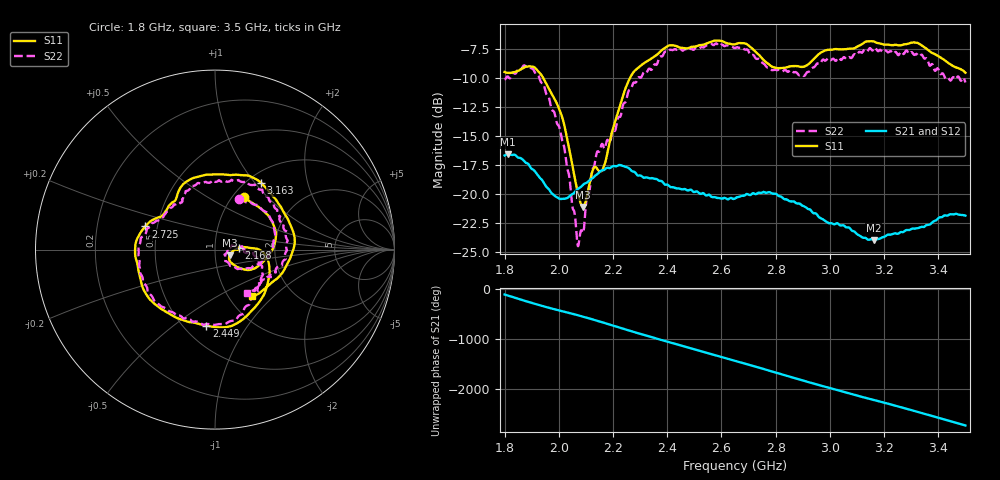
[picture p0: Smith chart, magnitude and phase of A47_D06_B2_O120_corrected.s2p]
! Created with skrf 1.9.0 (http://scikit-rf.org).
# Hz S RI R 50.0
!freq ReS11 ImS11 ReS21 ImS21 ReS12 ImS12 ReS22 ImS22
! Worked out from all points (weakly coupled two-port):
!   1601 points, 1.8 GHz to 3.5 GHz, reference 50 ohm
!   highest |S21| = -16.59 dB at 1.812 GHz (marker M1); lowest = -24.0 dB at 3.162 GHz (marker M2)
!   lowest |S11| = -21.1 dB at 2.09 GHz (marker M3), VSWR 1.19, Z = 58.8 - j3.85 ohm
!   |S11| at or under -10 dB: 1.942 GHz to 2.263 GHz (321.1 MHz wide, 15.3 % of centre)
!   |S22| runs from -24.5 to -7.0 dB; largest |S21 - S12| = 0.0024
!   S11 on the Smith chart (normalised r, x): 1.8 GHz: 1.13, +0.74; 2.168 GHz: 1.30, +0.03; 2.449 GHz: 0.64, -0.66; 2.725 GHz: 0.43, +0.13; 3.163 GHz: 1.15, +1.08; 3.5 GHz: 1.28, -0.75
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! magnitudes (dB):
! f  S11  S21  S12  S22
! 1.8 GHz  -9.5  -16.7  -16.7  -10.2
! 1.812 GHz  -9.6  -16.6  -16.6  -9.9
! 1.882 GHz  -9.0  -17.4  -17.4  -9.0
! 1.942 GHz  -10.0  -19.0  -19.0  -10.5
! 2.011 GHz  -13.3  -20.4  -20.4  -15.3
! 2.068 GHz  -19.6  -19.6  -19.6  -24.1
! 2.084 GHz  -21.0  -19.4  -19.3  -23.1
! 2.09 GHz  -21.1  -19.2  -19.2  -23.3
! 2.13 GHz  -17.7  -18.5  -18.5  -17.6
! 2.168 GHz  -17.6  -17.9  -17.9  -16.1
! 2.26 GHz  -10.1  -17.8  -17.8  -11.1
! 2.367 GHz  -7.9  -18.8  -18.8  -8.5
! 2.449 GHz  -7.4  -19.6  -19.6  -7.5
! 2.65 GHz  -7.1  -20.4  -20.4  -7.4
! 2.725 GHz  -7.8  -20.0  -20.0  -8.3
! 2.803 GHz  -9.2  -20.0  -20.1  -9.3
! 2.934 GHz  -8.6  -21.5  -21.5  -9.2
! 3.162 GHz  -6.9  -24.0  -23.9  -7.5
! 3.163 GHz  -6.9  -24.0  -23.9  -7.5
! 3.217 GHz  -7.2  -23.5  -23.5  -7.8
! 3.324 GHz  -7.0  -23.0  -22.9  -8.0
! 3.5 GHz  -9.6  -21.9  -21.8  -10.4
